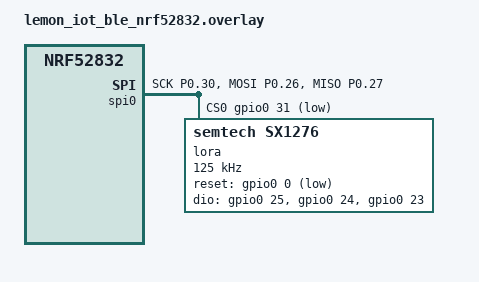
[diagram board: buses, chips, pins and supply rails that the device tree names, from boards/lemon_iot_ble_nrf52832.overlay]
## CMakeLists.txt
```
# SPDX-License-Identifier: Apache-2.0

cmake_minimum_required(VERSION 3.20.0)

find_package(Zephyr REQUIRED HINTS $ENV{ZEPHYR_BASE})
project(LoRa)

FILE(GLOB app_sources src/*.c)
target_sources(app PRIVATE ${app_sources})
```

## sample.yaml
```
sample:
  description: LoRa Point to Point Example
  name: LoRa
```

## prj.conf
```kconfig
CONFIG_SERIAL=y
CONFIG_CONSOLE=y
CONFIG_UART_CONSOLE=y

# Use Segger RTT Console
#CONFIG_RTT_CONSOLE=y
#CONFIG_USE_SEGGER_RTT=y

CONFIG_LOG=y

CONFIG_SPI=y
CONFIG_LOG_DEFAULT_LEVEL=4
CONFIG_LOG_BACKEND_UART=y

CONFIG_LORA=y
CONFIG_LORA_LOG_LEVEL_DBG=y
CONFIG_LORA_SX12XX=y
CONFIG_LORA_SX127X=y
#CONFIG_LORA_STM32WL_SUBGHZ_RADIO

#CONFIG_LORAWAN=y
#CONFIG_LORAWAN_LOG_LEVEL_DBG=y
#CONFIG_LORAMAC_REGION_AU915=y

CONFIG_MAIN_STACK_SIZE=2048
CONFIG_SYSTEM_WORKQUEUE_STACK_SIZE=2048
```

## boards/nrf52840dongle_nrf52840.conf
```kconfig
# If target is nRF52840-Dongle, don't link for use with nRF5 Bootloader
# This assumes you are flashing using a SWD programmer such as J-Link
CONFIG_BOARD_HAS_NRF5_BOOTLOADER=n
```

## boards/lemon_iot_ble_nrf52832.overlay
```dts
/ {
	aliases {
		lora0 = &lora;
	};
};

&pinctrl {

	spi0_sleep: spi0_sleep {
		group1 {
			psels = <NRF_PSEL(SPIM_SCK, 0, 30)>,
				<NRF_PSEL(SPIM_MOSI, 0, 26)>,
				<NRF_PSEL(SPIM_MISO, 0, 27)>;
			low-power-enable;
		};
	};
	spi0_default: spi0_default {
		group1 {
			psels = <NRF_PSEL(SPIM_SCK, 0, 30)>,
				<NRF_PSEL(SPIM_MOSI, 0, 26)>,
				<NRF_PSEL(SPIM_MISO, 0, 27)>;
		};
	};
};

&spi0 {
	compatible = "nordic,nrf-spi";
	status = "okay";
	cs-gpios = <&gpio0 31 GPIO_ACTIVE_LOW>;
	pinctrl-0 = <&spi0_default>;
	pinctrl-1 = <&spi0_sleep>;
	pinctrl-names = "default", "sleep";
	lora: sx1276@0 {
		compatible = "semtech,sx1276";
		reg = <0>;
		reset-gpios = <&gpio0 0 GPIO_ACTIVE_LOW>;
		dio-gpios = <&gpio0 25 (GPIO_PULL_DOWN | GPIO_ACTIVE_HIGH)>,
					<&gpio0 24 (GPIO_PULL_DOWN | GPIO_ACTIVE_HIGH)>,
					<&gpio0 23 (GPIO_PULL_DOWN | GPIO_ACTIVE_HIGH)>;
		power-amplifier-output = "pa-boost";
		spi-max-frequency = <125000>;
	};
};
```

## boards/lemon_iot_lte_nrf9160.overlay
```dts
/ {
	aliases {
		lora0 = &lora;
	};
};

&pinctrl {

	spi1_sleep: spi1_sleep {
		group1 {
			psels = <NRF_PSEL(SPIM_SCK, 0, 30)>,
				<NRF_PSEL(SPIM_MOSI, 0, 26)>,
				<NRF_PSEL(SPIM_MISO, 0, 27)>;
			low-power-enable;
		};
	};
	spi1_default: spi1_default {
		group1 {
			psels = <NRF_PSEL(SPIM_SCK, 0, 30)>,
				<NRF_PSEL(SPIM_MOSI, 0, 26)>,
				<NRF_PSEL(SPIM_MISO, 0, 27)>;
		};
	};
};

&spi1 {
	compatible = "nordic,nrf-spim";
	status = "okay";
	cs-gpios = <&gpio0 31 GPIO_ACTIVE_LOW>;
	pinctrl-0 = <&spi1_default>;
	pinctrl-1 = <&spi1_sleep>;
	pinctrl-names = "default", "sleep";
	lora: sx1276@0 {
		compatible = "semtech,sx1276";
		reg = <0>;
		reset-gpios = <&gpio0 0 GPIO_ACTIVE_LOW>;
		dio-gpios = <&gpio0 25 (GPIO_PULL_DOWN | GPIO_ACTIVE_HIGH)>,
					<&gpio0 24 (GPIO_PULL_DOWN | GPIO_ACTIVE_HIGH)>,
					<&gpio0 23 (GPIO_PULL_DOWN | GPIO_ACTIVE_HIGH)>;
		power-amplifier-output = "pa-boost";
		spi-max-frequency = <125000>;
	};
};
```

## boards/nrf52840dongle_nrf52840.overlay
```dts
/ {
	aliases {
		lora0 = &lora;
	};
};

&pinctrl {

	uart0_default: uart0_default {
		group1 {
			psels = <NRF_PSEL(UART_TX, 0, 13)>;
		};
		group2 {
			psels = <NRF_PSEL(UART_RX, 0, 15)>;
			bias-pull-up;
		};
	};

	uart0_sleep: uart0_sleep {
		group1 {
			psels = <NRF_PSEL(UART_TX, 0, 13)>,
				<NRF_PSEL(UART_RX, 0, 15)>;
			low-power-enable;
		};
	};

	spi1_sleep: spi1_sleep {
		group1 {
			psels = <NRF_PSEL(SPIM_SCK, 0, 31)>,
					<NRF_PSEL(SPIM_MOSI, 0, 29)>,
					<NRF_PSEL(SPIM_MISO, 0, 2)>;
			low-power-enable;
		};
	};
	spi1_default: spi1_default {
		group1 {
			psels = <NRF_PSEL(SPIM_SCK, 0, 31)>,
					<NRF_PSEL(SPIM_MOSI, 0, 29)>,
					<NRF_PSEL(SPIM_MISO, 0, 2)>;
		};
	};
};

// https://docs.zephyrproject.org/latest/build/dts/api/bindings/lora/semtech,sx1276.html

&uart0 {
	compatible = "nordic,nrf-uarte";
	status = "okay";
	current-speed = <115200>;
	pinctrl-0 = <&uart0_default>;
	pinctrl-1 = <&uart0_sleep>;
	pinctrl-names = "default", "sleep";
};

&spi1 {
	compatible = "nordic,nrf-spim";
	status = "okay";
	cs-gpios = <&gpio1 15 GPIO_ACTIVE_LOW>;
	pinctrl-0 = <&spi1_default>;
	pinctrl-1 = <&spi1_sleep>;
	pinctrl-names = "default", "sleep";
	lora: sx1276@0 {
		compatible = "semtech,sx1276";
		reg = <0>;
		reset-gpios = <&gpio1 13 GPIO_ACTIVE_LOW>;
		dio-gpios = <&gpio0 24 (GPIO_PULL_DOWN | GPIO_ACTIVE_HIGH)>,
					<&gpio0 22 (GPIO_PULL_DOWN | GPIO_ACTIVE_HIGH)>,
					<&gpio0 17 (GPIO_PULL_DOWN | GPIO_ACTIVE_HIGH)>;
		power-amplifier-output = "pa-boost";
		spi-max-frequency = <125000>;
	};
};
```

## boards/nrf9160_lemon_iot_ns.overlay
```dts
// To get started, press Ctrl+Space to bring up the completion menu and view the available nodes.

// You can also use the buttons in the sidebar to perform actions on nodes.
// Actions currently available include:

// * Enabling / disabling the node
// * Adding the bus to a bus
// * Removing the node
// * Connecting ADC channels

// For more help, browse the DeviceTree documentation at https://docs.zephyrproject.org/latest/guides/dts/index.html
// You can also visit the nRF DeviceTree extension documentation at https://nrfconnect.github.io/vscode-nrf-connect/devicetree/nrfdevicetree.html

/ {
    aliases {
        lora0 = &lora;
    };
};

&pinctrl {

    spi1_sleep: spi1_sleep {
        group1 {
            psels = <NRF_PSEL(SPIM_SCK, 0, 30)>,
                <NRF_PSEL(SPIM_MOSI, 0, 26)>,
                <NRF_PSEL(SPIM_MISO, 0, 27)>;
            low-power-enable;
        };
    };
    spi1_default: spi1_default {
        group1 {
            psels = <NRF_PSEL(SPIM_SCK, 0, 30)>,
                <NRF_PSEL(SPIM_MOSI, 0, 26)>,
                <NRF_PSEL(SPIM_MISO, 0, 27)>;
        };
    };
};

&spi1 {
	compatible = "nordic,nrf-spim";
	status = "okay";
	cs-gpios = <&gpio0 31 GPIO_ACTIVE_LOW>;
	pinctrl-0 = <&spi1_default>;
	pinctrl-1 = <&spi1_sleep>;
	pinctrl-names = "default", "sleep";
	lora: sx1276@0 {
        compatible = "semtech,sx1276";
        reg = <0>;
        reset-gpios = <&gpio0 0 GPIO_ACTIVE_LOW>;
        dio-gpios = <&gpio0 25 (GPIO_PULL_DOWN | GPIO_ACTIVE_HIGH)>,
                    <&gpio0 24 (GPIO_PULL_DOWN | GPIO_ACTIVE_HIGH)>,
                    <&gpio0 23 (GPIO_PULL_DOWN | GPIO_ACTIVE_HIGH)>;
		power-amplifier-output = "pa-boost";
		spi-max-frequency = <125000>;
    };
};
```

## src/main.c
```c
/*
 * Copyright (c) 2023 Craig Peacock
 * Copyright (c) 2019 Manivannan Sadhasivam
 *
 * SPDX-License-Identifier: Apache-2.0
 */

#include <stdio.h>
#include <string.h>
#include <zephyr/device.h>
#include <zephyr/kernel.h>
#include <zephyr/drivers/lora.h>
#include <zephyr/drivers/gpio.h>

#define LOG_LEVEL CONFIG_LOG_DBG_LEVEL
#include <zephyr/logging/log.h>
LOG_MODULE_REGISTER(lora);

#define TRANSMIT 1
#define RECEIVE 0

char data_tx[] = {"Hello"};

static struct gpio_callback button_callback_data;
static const struct gpio_dt_spec button = GPIO_DT_SPEC_GET_OR(DT_ALIAS(sw0), gpios, {0});
K_SEM_DEFINE(pb_pushed, 0, 1);

void button_callback(const struct device *dev, struct gpio_callback *cb, uint32_t pins)
{
	k_sem_give(&pb_pushed);
}

void lora_recv_callback(const struct device *dev, uint8_t *data, uint16_t size, int16_t rssi, int8_t snr)
{
	// When lora_recv_async is cancelled, may be called with 0 bytes.
	if (size != 0) {
		printk("RECV %d bytes: ",size);
		for (uint16_t i = 0; i < size; i++)
			printk("0x%02x ",data[i]);
		printk("RSSI = %ddBm, SNR = %ddBm\n", rssi, snr);
	} 
}

int lora_configure(const struct device *dev, bool transmit)
{
	int ret;
	struct lora_modem_config config;

	config.frequency = 916800000;
	config.bandwidth = BW_125_KHZ;
	config.datarate = SF_10;
	config.preamble_len = 8;
	config.coding_rate = CR_4_5;
	config.tx_power = 4;
	config.iq_inverted = false;
	config.public_network = false;
	config.tx = transmit;

	ret = lora_config(dev, &config);
	if (ret < 0) {
		LOG_ERR("LoRa device configuration failed");
		return false;
	}

	return(true);
}

void main(void)
{
	const struct device *dev_lora;
	int ret, bytes;

	printk("LoRa Point to Point Communications Example\n");

	// Setup LoRa Radio Device:
	dev_lora = DEVICE_DT_GET(DT_ALIAS(lora0));
	if (!device_is_ready(dev_lora)) {
		printk("%s: device not ready", dev_lora->name);
		return;
	}

	if (lora_configure(dev_lora, RECEIVE)) {
		printk("LoRa Device Configured\n");
	} else {
		return;
	}

	// Setup SW1 Momentary Push Button:
	if (!device_is_ready(button.port)) {
		printk("Error: button device %s is not ready\n", button.port->name);
		return;
	}

	ret = gpio_pin_configure_dt(&button, GPIO_INPUT);
	if (ret != 0) {
		printk("Error %d: failed to configure %s pin %d\n", ret, button.port->name, button.pin);
		return;
	}

	ret = gpio_pin_interrupt_configure_dt(&button, GPIO_INT_EDGE_TO_ACTIVE);
	if (ret != 0) {
		printk("Error %d: failed to configure interrupt on %s pin %d\n", ret, button.port->name, button.pin);
		return;
	}

	gpio_init_callback(&button_callback_data, button_callback, BIT(button.pin));
	gpio_add_callback(button.port, &button_callback_data);

	// Start LoRa radio listening
	ret = lora_recv_async(dev_lora, lora_recv_callback);
	if (ret < 0) {
		LOG_ERR("LoRa recv_async failed %d\n", ret);
	} 

	while (1) {

		// Wait for SW1 to be pressed. Onced pressed, transmit some data

		if (k_sem_take(&pb_pushed, K_FOREVER) != 0) {
			printk("Error taking sem\n");
		} 

		// Cancel reception
		ret = lora_recv_async(dev_lora, NULL);
		if (ret < 0) {
			LOG_ERR("LoRa recv_async failed %d\n", ret);
		} 

		// Reconfigure radio for transmit
		lora_configure(dev_lora, TRANSMIT);	

		// Transmit data
		ret = lora_send(dev_lora, data_tx, sizeof(data_tx));
		if (ret < 0) {
			LOG_ERR("LoRa send failed");
		} else {
			bytes = sizeof(data_tx);
			printk("XMIT %d bytes: ", bytes);
			for (uint16_t i = 0; i < bytes; i++)
				printk("0x%02x ",data_tx[i]);
			printk("\n");
		}

		// Restart reception
		lora_configure(dev_lora, RECEIVE);	
		ret = lora_recv_async(dev_lora, lora_recv_callback);
		if (ret < 0) {
			LOG_ERR("LoRa recv_async failed %d\n", ret);
		} 
	}
}
```
